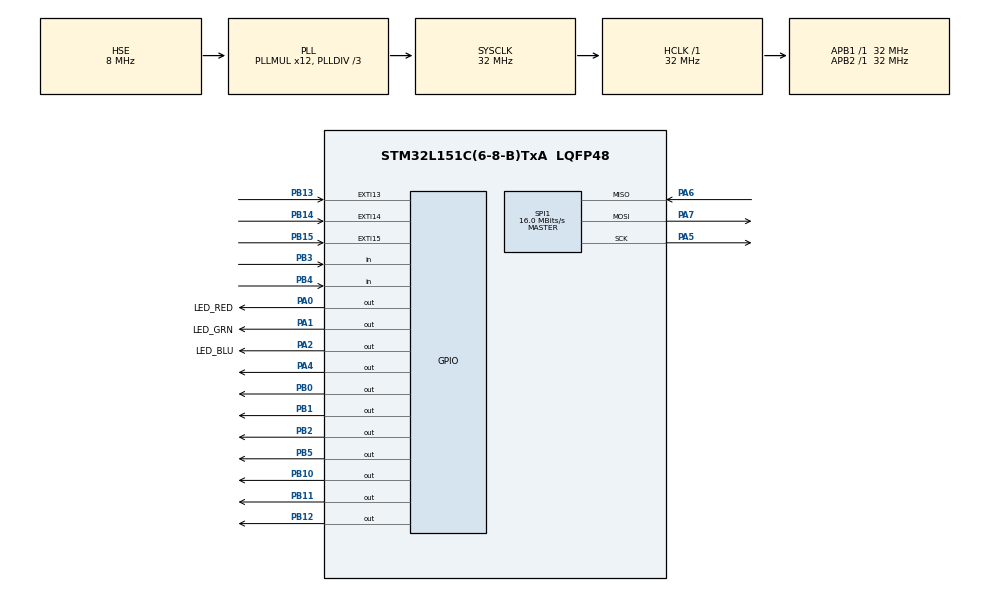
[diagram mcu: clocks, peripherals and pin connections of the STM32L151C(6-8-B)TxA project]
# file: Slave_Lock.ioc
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Mcu.Family=STM32L1
Mcu.Name=STM32L151C(6-8-B)TxA
Mcu.Package=LQFP48
NVIC.EXTI15_10_IRQn=true\:1\:0\:true\:false\:true\:true\:true
NVIC.EXTI3_IRQn=true\:1\:0\:true\:false\:true\:true\:true
NVIC.EXTI4_IRQn=true\:1\:0\:true\:false\:true\:true\:true
NVIC.PriorityGroup=NVIC_PRIORITYGROUP_4
NVIC.TIM11_IRQn=true\:0\:0\:true\:false\:true\:true\:true
PA0-WKUP1.GPIO_Label=LED_RED
PA0-WKUP1.PinState=GPIO_PIN_SET
PA0-WKUP1.Signal=GPIO_Output
PA1.GPIO_Label=LED_GRN
PA1.PinState=GPIO_PIN_SET
PA1.Signal=GPIO_Output
PA13.Mode=Serial_Wire
PA13.Signal=SYS_JTMS-SWDIO
PA14.Mode=Serial_Wire
PA14.Signal=SYS_JTCK-SWCLK
PA2.GPIO_Label=LED_BLU
PA2.PinState=GPIO_PIN_SET
PA2.Signal=GPIO_Output
PA4.GPIO_Speed=GPIO_SPEED_FREQ_VERY_HIGH
PA4.Signal=GPIO_Output
PA5.Mode=Full_Duplex_Master
PA5.Signal=SPI1_SCK
PA6.Mode=Full_Duplex_Master
PA6.Signal=SPI1_MISO
PA7.Mode=Full_Duplex_Master
PA7.Signal=SPI1_MOSI
PB0.GPIO_Speed=GPIO_SPEED_FREQ_VERY_HIGH
PB0.Signal=GPIO_Output
PB1.GPIO_Speed=GPIO_SPEED_FREQ_VERY_HIGH
PB1.PinState=GPIO_PIN_RESET
PB1.Signal=GPIO_Output
PB10.GPIO_Speed=GPIO_SPEED_FREQ_VERY_HIGH
PB10.PinState=GPIO_PIN_RESET
PB10.Signal=GPIO_Output
PB11.GPIO_Speed=GPIO_SPEED_FREQ_VERY_HIGH
PB11.Signal=GPIO_Output
PB12.GPIO_Speed=GPIO_SPEED_FREQ_VERY_HIGH
PB12.Signal=GPIO_Output
PB13.GPIO_ModeDefaultEXTI=GPIO_MODE_IT_RISING
PB13.GPIO_PuPd=GPIO_PULLDOWN
PB13.Signal=GPXTI13
PB14.GPIO_PuPd=GPIO_PULLDOWN
PB14.Signal=GPXTI14
PB15.GPIO_PuPd=GPIO_PULLDOWN
PB15.Signal=GPXTI15
PB2.GPIO_Speed=GPIO_SPEED_FREQ_VERY_HIGH
PB2.PinState=GPIO_PIN_RESET
PB2.Signal=GPIO_Output
PB3.GPIO_ModeDefaultEXTI=GPIO_MODE_IT_RISING_FALLING
PB3.GPIO_PuPd=GPIO_PULLUP
PB3.Signal=SharedStack_PB3
PB3.Stacked=true
PB4.GPIO_ModeDefaultEXTI=GPIO_MODE_IT_RISING_FALLING
PB4.GPIO_PuPd=GPIO_PULLUP
PB4.Signal=SharedStack_PB4
PB4.Stacked=true
PB5.Signal=GPIO_Output
PC14-OSC32_IN.Mode=LSE-External-Oscillator
PC14-OSC32_IN.Signal=RCC_OSC32_IN
PC15-OSC32_OUT.Mode=LSE-External-Oscillator
PC15-OSC32_OUT.Signal=RCC_OSC32_OUT
PH0-OSC_IN.Mode=HSE-External-Oscillator
PH0-OSC_IN.Signal=RCC_OSC_IN
PH1-OSC_OUT.Mode=HSE-External-Oscillator
PH1-OSC_OUT.Signal=RCC_OSC_OUT
ProjectManager.HeapSize=0x200
ProjectManager.StackSize=0x400
ProjectManager.TargetToolchain=MDK-ARM V5.27
RCC.48MHZClocksFreq_Value=48000000
RCC.AHBFreq_Value=32000000
RCC.APB1Freq_Value=32000000
RCC.APB1TimFreq_Value=32000000
RCC.APB2Freq_Value=32000000
RCC.APB2TimFreq_Value=32000000
RCC.HCLKFreq_Value=32000000
RCC.HSE_VALUE=8000000
RCC.HSI_VALUE=16000000
RCC.MSI_VALUE=2097000
RCC.PLLDIV=RCC_PLL_DIV3
RCC.PLLMUL=RCC_PLL_MUL12
RCC.PLLSourceVirtual=RCC_PLLSOURCE_HSE
RCC.SYSCLKFreq_VALUE=32000000
RCC.SYSCLKSource=RCC_SYSCLKSOURCE_PLLCLK
RCC.VCOOutputFreq_Value=96000000
SH.SharedStack_PB3.0=GPIO_Input+0
SH.SharedStack_PB3.1=GPIO_EXTI3
SH.SharedStack_PB4.0=GPIO_Input+0
SH.SharedStack_PB4.1=GPIO_EXTI4
SPI1.CalculateBaudRate=16.0 MBits/s
SPI1.Direction=SPI_DIRECTION_2LINES
SPI1.Mode=SPI_MODE_MASTER
SPI1.VirtualType=VM_MASTER
TIM11.AutoReloadPreload=TIM_AUTORELOAD_PRELOAD_ENABLE
TIM11.Period=30000-1
TIM11.Prescaler=64000-1
VP_TIM11_VS_ClockSourceINT.Mode=Internal
board=custom

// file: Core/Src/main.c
/* USER CODE BEGIN Header */
/**
  ******************************************************************************
  * @file           : main.c
  * @brief          : Main program body
  ******************************************************************************
  * @attention
  *
  * <h2><center>&copy; Copyright (c) 2020 STMicroelectronics.
  * All rights reserved.</center></h2>
  *
  * This software component is licensed by ST under BSD 3-Clause license,
  * the "License"; You may not use this file except in compliance with the
  * License. You may obtain a copy of the License at:
  *                        opensource.org/licenses/BSD-3-Clause
  *
  ******************************************************************************
  */
/* USER CODE END Header */

#include "main.h"

/* USER CODE BEGIN Includes */
#include <stdio.h>
#include <stdint.h>
#include <stdbool.h>
#include <string.h>
#include "SX127X_Driver.h"
/* USER CODE END Includes */

/* USER CODE BEGIN PM */
enum DemoInternalStates
{
  APP_RNG = 0, // nothing to do (or wait a radio interrupt)
  RX_DONE,
  TX_DONE,
  TX_ING,
  APP_IDLE,
};
/* USER CODE END PM */

SPI_HandleTypeDef hspi1;

TIM_HandleTypeDef htim11;

/* USER CODE BEGIN PV */
uint8_t TXbuffer[8] = {0};
uint8_t RXbuffer[8] = {0};
uint8_t tfs=0;
uint32_t Fre[5] = {470800000, 494600000, 510000000, 868000000, 915000000};

uint8_t communication_states;

uint8_t flag=0;
uint8_t timcnt=0;
/* USER CODE END PV */

void SystemClock_Config(void);
static void MX_GPIO_Init(void);
static void MX_SPI1_Init(void);
static void MX_TIM11_Init(void);
/* USER CODE BEGIN PFP */
void chgColor(void);
void openLock(void);
/* USER CODE END PFP */

int main(void)
{

  /* MCU Configuration--------------------------------------------------------*/

  /* Reset of all peripherals, Initializes the Flash interface and the Systick. */
  HAL_Init();

  /* Configure the system clock */
  SystemClock_Config();

  /* Initialize all configured peripherals */
  MX_GPIO_Init();
  MX_SPI1_Init();
  MX_TIM11_Init();
  /* USER CODE BEGIN 2 */
  HAL_GPIO_WritePin(GPIOB, GPIO_PIN_11, GPIO_PIN_SET);

  G_LoRaConfig.LoRa_Freq = Fre[0];      //中心频率470MHz
  G_LoRaConfig.BandWidth = BW125KHZ;    //BW = 125KHz  BW125KHZ
  G_LoRaConfig.SpreadingFactor = SF09;  //SF = 9
  G_LoRaConfig.CodingRate = CR_4_6;     //CR = 4/6
  G_LoRaConfig.PowerCfig = 15;          //19±1dBm
  G_LoRaConfig.MaxPowerOn = true;       //最大功率开启
  G_LoRaConfig.CRCON = true;            //CRC校验开启
  G_LoRaConfig.ExplicitHeaderOn = true; //Header开启
  G_LoRaConfig.PayloadLength = 8;       //数据包长度

  while(1)
  {
    if(SX127X_Lora_init() == NORMAL)      //无线模块初始化
    {
      break;
    }
  }

  chgColor();

  HAL_TIM_Base_Stop_IT(&htim11);
  __HAL_TIM_CLEAR_IT(&htim11, TIM_IT_UPDATE);
  __HAL_TIM_SetCounter(&htim11, 0);

  DIO0_EnableInterrupt();
  SX127X_StartRx();
  /* USER CODE END 2 */

  /* Infinite loop */
  /* USER CODE BEGIN WHILE */
  while (1)
  {
    switch(communication_states)
    {
      case APP_IDLE:
        break;

      case TX_ING:
        HAL_Delay(100);
        DIO0_EnableInterrupt();
        TXbuffer[0]=0x03;
        if(HAL_GPIO_ReadPin(GPIOB, GPIO_PIN_3)==GPIO_PIN_RESET)
        {
          TXbuffer[1]=0x77;
        }
        else
        {
          TXbuffer[1]=0xFF;
        }
        SX127X_TxPacket(TXbuffer);
        communication_states = APP_IDLE;
        break;

      case TX_DONE:
        SX127X_StandbyMode();
        DIO0_EnableInterrupt();
        SX127X_StartRx();
        communication_states = APP_IDLE;
        break;

      case RX_DONE:
        DIO0_DisableInterrupt();
        SX127X_RxPacket(RXbuffer);
        HAL_Delay(50);

        if(RXbuffer[0]==0x03)
        {
          if(RXbuffer[2]==0x77)
          {
            communication_states = TX_ING;
          }
          else
          {
            openLock();
            communication_states = TX_ING;
          }
        }
        else
        {
          communication_states = TX_DONE;
        }
        break;

      default:
        break;
    }
    /* USER CODE END WHILE */

  }
}

void SystemClock_Config(void)
{
  RCC_OscInitTypeDef RCC_OscInitStruct = {0};
  RCC_ClkInitTypeDef RCC_ClkInitStruct = {0};

  /** Configure the main internal regulator output voltage
  */
  __HAL_PWR_VOLTAGESCALING_CONFIG(PWR_REGULATOR_VOLTAGE_SCALE1);
  /** Initializes the CPU, AHB and APB busses clocks
  */
  RCC_OscInitStruct.OscillatorType = RCC_OSCILLATORTYPE_HSE;
  RCC_OscInitStruct.HSEState = RCC_HSE_ON;
  RCC_OscInitStruct.PLL.PLLState = RCC_PLL_ON;
  RCC_OscInitStruct.PLL.PLLSource = RCC_PLLSOURCE_HSE;
  RCC_OscInitStruct.PLL.PLLMUL = RCC_PLL_MUL12;
  RCC_OscInitStruct.PLL.PLLDIV = RCC_PLL_DIV3;
  if (HAL_RCC_OscConfig(&RCC_OscInitStruct) != HAL_OK)
  {
    Error_Handler();
  }
  /** Initializes the CPU, AHB and APB busses clocks
  */
  RCC_ClkInitStruct.ClockType = RCC_CLOCKTYPE_HCLK|RCC_CLOCKTYPE_SYSCLK
                              |RCC_CLOCKTYPE_PCLK1|RCC_CLOCKTYPE_PCLK2;
  RCC_ClkInitStruct.SYSCLKSource = RCC_SYSCLKSOURCE_PLLCLK;
  RCC_ClkInitStruct.AHBCLKDivider = RCC_SYSCLK_DIV1;
  RCC_ClkInitStruct.APB1CLKDivider = RCC_HCLK_DIV1;
  RCC_ClkInitStruct.APB2CLKDivider = RCC_HCLK_DIV1;

  if (HAL_RCC_ClockConfig(&RCC_ClkInitStruct, FLASH_LATENCY_1) != HAL_OK)
  {
    Error_Handler();
  }
}

static void MX_SPI1_Init(void)
{

  /* SPI1 parameter configuration*/
  hspi1.Instance = SPI1;
  hspi1.Init.Mode = SPI_MODE_MASTER;
  hspi1.Init.Direction = SPI_DIRECTION_2LINES;
  hspi1.Init.DataSize = SPI_DATASIZE_8BIT;
  hspi1.Init.CLKPolarity = SPI_POLARITY_LOW;
  hspi1.Init.CLKPhase = SPI_PHASE_1EDGE;
  hspi1.Init.NSS = SPI_NSS_SOFT;
  hspi1.Init.BaudRatePrescaler = SPI_BAUDRATEPRESCALER_2;
  hspi1.Init.FirstBit = SPI_FIRSTBIT_MSB;
  hspi1.Init.TIMode = SPI_TIMODE_DISABLE;
  hspi1.Init.CRCCalculation = SPI_CRCCALCULATION_DISABLE;
  hspi1.Init.CRCPolynomial = 10;
  if (HAL_SPI_Init(&hspi1) != HAL_OK)
  {
    Error_Handler();
  }

}

static void MX_TIM11_Init(void)
{

  TIM_ClockConfigTypeDef sClockSourceConfig = {0};

  htim11.Instance = TIM11;
  htim11.Init.Prescaler = 64000-1;
  htim11.Init.CounterMode = TIM_COUNTERMODE_UP;
  htim11.Init.Period = 30000-1;
  htim11.Init.ClockDivision = TIM_CLOCKDIVISION_DIV1;
  htim11.Init.AutoReloadPreload = TIM_AUTORELOAD_PRELOAD_ENABLE;
  if (HAL_TIM_Base_Init(&htim11) != HAL_OK)
  {
    Error_Handler();
  }
  sClockSourceConfig.ClockSource = TIM_CLOCKSOURCE_INTERNAL;
  if (HAL_TIM_ConfigClockSource(&htim11, &sClockSourceConfig) != HAL_OK)
  {
    Error_Handler();
  }

}

static void MX_GPIO_Init(void)
{
  GPIO_InitTypeDef GPIO_InitStruct = {0};

  /* GPIO Ports Clock Enable */
  __HAL_RCC_GPIOC_CLK_ENABLE();
  __HAL_RCC_GPIOH_CLK_ENABLE();
  __HAL_RCC_GPIOA_CLK_ENABLE();
  __HAL_RCC_GPIOB_CLK_ENABLE();

  /*Configure GPIO pin Output Level */
  HAL_GPIO_WritePin(GPIOA, LED_RED_Pin|LED_GRN_Pin|LED_BLU_Pin, GPIO_PIN_SET);

  /*Configure GPIO pin Output Level */
  HAL_GPIO_WritePin(GPIOA, GPIO_PIN_4, GPIO_PIN_RESET);

  /*Configure GPIO pin Output Level */
  HAL_GPIO_WritePin(GPIOB, GPIO_PIN_0|GPIO_PIN_1|GPIO_PIN_2|GPIO_PIN_10
                          |GPIO_PIN_11|GPIO_PIN_12|GPIO_PIN_5, GPIO_PIN_RESET);

  /*Configure GPIO pins : LED_RED_Pin LED_GRN_Pin LED_BLU_Pin */
  GPIO_InitStruct.Pin = LED_RED_Pin|LED_GRN_Pin|LED_BLU_Pin;
  GPIO_InitStruct.Mode = GPIO_MODE_OUTPUT_PP;
  GPIO_InitStruct.Pull = GPIO_NOPULL;
  GPIO_InitStruct.Speed = GPIO_SPEED_FREQ_LOW;
  HAL_GPIO_Init(GPIOA, &GPIO_InitStruct);

  /*Configure GPIO pin : PA4 */
  GPIO_InitStruct.Pin = GPIO_PIN_4;
  GPIO_InitStruct.Mode = GPIO_MODE_OUTPUT_PP;
  GPIO_InitStruct.Pull = GPIO_NOPULL;
  GPIO_InitStruct.Speed = GPIO_SPEED_FREQ_VERY_HIGH;
  HAL_GPIO_Init(GPIOA, &GPIO_InitStruct);

  /*Configure GPIO pins : PB0 PB1 PB2 PB10
                           PB11 PB12 */
  GPIO_InitStruct.Pin = GPIO_PIN_0|GPIO_PIN_1|GPIO_PIN_2|GPIO_PIN_10
                          |GPIO_PIN_11|GPIO_PIN_12;
  GPIO_InitStruct.Mode = GPIO_MODE_OUTPUT_PP;
  GPIO_InitStruct.Pull = GPIO_NOPULL;
  GPIO_InitStruct.Speed = GPIO_SPEED_FREQ_VERY_HIGH;
  HAL_GPIO_Init(GPIOB, &GPIO_InitStruct);

  /*Configure GPIO pins : PB13 PB14 PB15 */
  GPIO_InitStruct.Pin = GPIO_PIN_13|GPIO_PIN_14|GPIO_PIN_15;
  GPIO_InitStruct.Mode = GPIO_MODE_IT_RISING;
  GPIO_InitStruct.Pull = GPIO_PULLDOWN;
  HAL_GPIO_Init(GPIOB, &GPIO_InitStruct);

  /*Configure GPIO pins : PB3 PB4 */
  GPIO_InitStruct.Pin = GPIO_PIN_3|GPIO_PIN_4;
  GPIO_InitStruct.Mode = GPIO_MODE_IT_RISING_FALLING;
  GPIO_InitStruct.Pull = GPIO_PULLUP;
  HAL_GPIO_Init(GPIOB, &GPIO_InitStruct);

  /*Configure GPIO pin : PB5 */
  GPIO_InitStruct.Pin = GPIO_PIN_5;
  GPIO_InitStruct.Mode = GPIO_MODE_OUTPUT_PP;
  GPIO_InitStruct.Pull = GPIO_NOPULL;
  GPIO_InitStruct.Speed = GPIO_SPEED_FREQ_LOW;
  HAL_GPIO_Init(GPIOB, &GPIO_InitStruct);

  /* EXTI interrupt init*/
  HAL_NVIC_SetPriority(EXTI3_IRQn, 1, 0);
  HAL_NVIC_EnableIRQ(EXTI3_IRQn);

  HAL_NVIC_SetPriority(EXTI4_IRQn, 1, 0);
  HAL_NVIC_EnableIRQ(EXTI4_IRQn);

  HAL_NVIC_SetPriority(EXTI15_10_IRQn, 1, 0);
  HAL_NVIC_EnableIRQ(EXTI15_10_IRQn);

}

/* USER CODE BEGIN 4 */
void openLock(void)
{
  if(HAL_GPIO_ReadPin(GPIOB, GPIO_PIN_3)==GPIO_PIN_SET)
  {
    return;
  }
  else
  {
    if(!flag)
    {
      flag=1;
      HAL_TIM_Base_Start_IT(&htim11);
      HAL_GPIO_WritePin(GPIOB, GPIO_PIN_5, GPIO_PIN_SET);
      HAL_Delay(100);
      HAL_GPIO_WritePin(GPIOB, GPIO_PIN_5, GPIO_PIN_RESET);
//      communication_states = TX_ING;
      return;
    }
    else
    {
      HAL_GPIO_TogglePin(LED_BLU_GPIO_Port, LED_BLU_Pin);
      HAL_Delay(200);
      HAL_GPIO_TogglePin(LED_BLU_GPIO_Port, LED_BLU_Pin);
      HAL_Delay(200);
      HAL_GPIO_TogglePin(LED_BLU_GPIO_Port, LED_BLU_Pin);
      HAL_Delay(200);
      HAL_GPIO_TogglePin(LED_BLU_GPIO_Port, LED_BLU_Pin);
      HAL_Delay(200);
      return;
    }
  }
}

void chgColor(void)
{
  if(HAL_GPIO_ReadPin(GPIOB, GPIO_PIN_3)==GPIO_PIN_RESET)
  {
    HAL_GPIO_WritePin(LED_RED_GPIO_Port, LED_RED_Pin, GPIO_PIN_SET);
    HAL_GPIO_WritePin(LED_GRN_GPIO_Port, LED_GRN_Pin, GPIO_PIN_RESET);
    HAL_GPIO_WritePin(LED_BLU_GPIO_Port, LED_BLU_Pin, GPIO_PIN_SET);
  }
  else
  {
    HAL_GPIO_WritePin(LED_RED_GPIO_Port, LED_RED_Pin, GPIO_PIN_RESET);
    HAL_GPIO_WritePin(LED_GRN_GPIO_Port, LED_GRN_Pin, GPIO_PIN_SET);
    HAL_GPIO_WritePin(LED_BLU_GPIO_Port, LED_BLU_Pin, GPIO_PIN_SET);
  }
  return;
}

void HAL_GPIO_EXTI_Callback(uint16_t GPIO_Pin)
{
  if(GPIO_Pin==GPIO_PIN_13||GPIO_Pin==GPIO_PIN_14||GPIO_Pin==GPIO_PIN_15)
  {
    if(DIO0_GetState() == GPIO_PIN_SET)
    {
      uint8_t flag;
      SX127X_Read(REG_LR_IRQFLAGS, &flag);
      SX127X_Write(REG_LR_IRQFLAGS, 0xff); //clear flags
      if(flag & RFLR_IRQFLAGS_TXDONE)
      {
        communication_states = TX_DONE;
      }
      else
      {
        if(flag & RFLR_IRQFLAGS_RXDONE)
        {
          communication_states = RX_DONE;
        }
      }
    }
  }
  if(GPIO_Pin==GPIO_PIN_3)
  {
    chgColor();
    communication_states = TX_ING;
  }
  if(GPIO_Pin==GPIO_PIN_4)
  {
    if(HAL_GPIO_ReadPin(GPIOB, GPIO_PIN_4)==GPIO_PIN_RESET)
    {
      openLock();
    }
  }
}

void HAL_TIM_PeriodElapsedCallback(TIM_HandleTypeDef *htim)
{
  timcnt++;
  if(timcnt>2)
  {
    timcnt=0;
    flag=0;
    HAL_TIM_Base_Stop_IT(&htim11);
    __HAL_TIM_SetCounter(&htim11, 0);
  }
}
/* USER CODE END 4 */

void Error_Handler(void)
{
}

/************************ (C) COPYRIGHT STMicroelectronics *****END OF FILE****/
